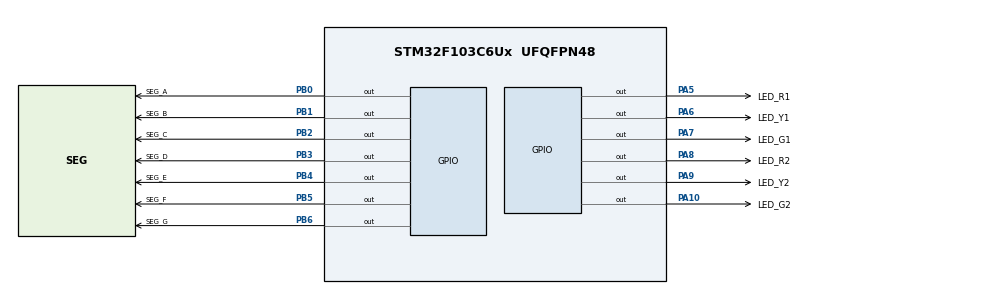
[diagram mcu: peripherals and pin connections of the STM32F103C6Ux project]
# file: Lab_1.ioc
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Mcu.Family=STM32F1
Mcu.Name=STM32F103C6Ux
Mcu.Package=UFQFPN48
NVIC.PriorityGroup=NVIC_PRIORITYGROUP_4
PA10.GPIO_Label=LED_G2
PA10.Signal=GPIO_Output
PA5.GPIO_Label=LED_R1
PA5.Signal=GPIO_Output
PA6.GPIO_Label=LED_Y1
PA6.Signal=GPIO_Output
PA7.GPIO_Label=LED_G1
PA7.Signal=GPIO_Output
PA8.GPIO_Label=LED_R2
PA8.Signal=GPIO_Output
PA9.GPIO_Label=LED_Y2
PA9.Signal=GPIO_Output
PB0.GPIO_Label=SEG_A
PB0.Signal=GPIO_Output
PB1.GPIO_Label=SEG_B
PB1.Signal=GPIO_Output
PB2.GPIO_Label=SEG_C
PB2.Signal=GPIO_Output
PB3.GPIO_Label=SEG_D
PB3.Signal=GPIO_Output
PB4.GPIO_Label=SEG_E
PB4.Signal=GPIO_Output
PB5.GPIO_Label=SEG_F
PB5.Signal=GPIO_Output
PB6.GPIO_Label=SEG_G
PB6.Signal=GPIO_Output
ProjectManager.HeapSize=0x200
ProjectManager.StackSize=0x400
ProjectManager.TargetToolchain=STM32CubeIDE
RCC.APB1Freq_Value=8000000
RCC.APB2Freq_Value=8000000
VP_SYS_VS_ND.Mode=No_Debug
board=custom

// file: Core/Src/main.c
/* USER CODE BEGIN Header */
/**
  ******************************************************************************
  * @file           : main.c
  * @brief          : Main program body
  ******************************************************************************
  * @attention
  *
  * <h2><center>&copy; Copyright (c) 2025 STMicroelectronics.
  * All rights reserved.</center></h2>
  *
  * This software component is licensed by ST under BSD 3-Clause license,
  * the "License"; You may not use this file except in compliance with the
  * License. You may obtain a copy of the License at:
  *                        opensource.org/licenses/BSD-3-Clause
  *
  ******************************************************************************
  */
/* USER CODE END Header */
#include "main.h"

/* USER CODE BEGIN PD */
#define G1_R2 1
#define Y1_R2 2
#define R1_G2 3
#define R1_Y2 4

#define COUNTER_GREEN 300
#define COUNTER_YELLOW 200
/* USER CODE END PD */

int traffic_state = G1_R2;
int traffic_counter = COUNTER_GREEN;

void SystemClock_Config(void);
static void MX_GPIO_Init(void);
/* USER CODE BEGIN PFP */
void display7SEG(int num);
/* USER CODE END PFP */

int main(void)
{

  /* MCU Configuration--------------------------------------------------------*/

  /* Reset of all peripherals, Initializes the Flash interface and the Systick. */
  HAL_Init();

  /* Configure the system clock */
  SystemClock_Config();

  /* Initialize all configured peripherals */
  MX_GPIO_Init();
  /* USER CODE BEGIN 2 */
  void display7SEG(int num) {
    switch(num) {
      case 0:
        HAL_GPIO_WritePin(GPIOB, GPIO_PIN_0, GPIO_PIN_RESET); // a
        HAL_GPIO_WritePin(GPIOB, GPIO_PIN_1, GPIO_PIN_RESET); // b
        HAL_GPIO_WritePin(GPIOB, GPIO_PIN_2, GPIO_PIN_RESET); // c
        HAL_GPIO_WritePin(GPIOB, GPIO_PIN_3, GPIO_PIN_RESET); // d
        HAL_GPIO_WritePin(GPIOB, GPIO_PIN_4, GPIO_PIN_RESET); // e
        HAL_GPIO_WritePin(GPIOB, GPIO_PIN_5, GPIO_PIN_RESET); // f
        HAL_GPIO_WritePin(GPIOB, GPIO_PIN_6, GPIO_PIN_SET);   // g
        break;
      case 1:
        HAL_GPIO_WritePin(GPIOB, GPIO_PIN_0, GPIO_PIN_SET);   // a
        HAL_GPIO_WritePin(GPIOB, GPIO_PIN_1, GPIO_PIN_RESET); // b
        HAL_GPIO_WritePin(GPIOB, GPIO_PIN_2, GPIO_PIN_RESET); // c
        HAL_GPIO_WritePin(GPIOB, GPIO_PIN_3, GPIO_PIN_SET);   // d
        HAL_GPIO_WritePin(GPIOB, GPIO_PIN_4, GPIO_PIN_SET);   // e
        HAL_GPIO_WritePin(GPIOB, GPIO_PIN_5, GPIO_PIN_SET);   // f
        HAL_GPIO_WritePin(GPIOB, GPIO_PIN_6, GPIO_PIN_SET);   // g
        break;
      case 2:
        HAL_GPIO_WritePin(GPIOB, GPIO_PIN_0, GPIO_PIN_RESET); // a
        HAL_GPIO_WritePin(GPIOB, GPIO_PIN_1, GPIO_PIN_RESET); // b
        HAL_GPIO_WritePin(GPIOB, GPIO_PIN_2, GPIO_PIN_SET);   // c
        HAL_GPIO_WritePin(GPIOB, GPIO_PIN_3, GPIO_PIN_RESET); // d
        HAL_GPIO_WritePin(GPIOB, GPIO_PIN_4, GPIO_PIN_RESET); // e
        HAL_GPIO_WritePin(GPIOB, GPIO_PIN_5, GPIO_PIN_SET);   // f
        HAL_GPIO_WritePin(GPIOB, GPIO_PIN_6, GPIO_PIN_RESET); // g
        break;
      case 3:
        HAL_GPIO_WritePin(GPIOB, GPIO_PIN_0, GPIO_PIN_RESET); // a
        HAL_GPIO_WritePin(GPIOB, GPIO_PIN_1, GPIO_PIN_RESET); // b
        HAL_GPIO_WritePin(GPIOB, GPIO_PIN_2, GPIO_PIN_RESET); // c
        HAL_GPIO_WritePin(GPIOB, GPIO_PIN_3, GPIO_PIN_RESET); // d
        HAL_GPIO_WritePin(GPIOB, GPIO_PIN_4, GPIO_PIN_SET);   // e
        HAL_GPIO_WritePin(GPIOB, GPIO_PIN_5, GPIO_PIN_SET);   // f
        HAL_GPIO_WritePin(GPIOB, GPIO_PIN_6, GPIO_PIN_RESET); // g
        break;
      case 4:
        HAL_GPIO_WritePin(GPIOB, GPIO_PIN_0, GPIO_PIN_SET);   // a
        HAL_GPIO_WritePin(GPIOB, GPIO_PIN_1, GPIO_PIN_RESET); // b
        HAL_GPIO_WritePin(GPIOB, GPIO_PIN_2, GPIO_PIN_RESET); // c
        HAL_GPIO_WritePin(GPIOB, GPIO_PIN_3, GPIO_PIN_SET);   // d
        HAL_GPIO_WritePin(GPIOB, GPIO_PIN_4, GPIO_PIN_SET);   // e
        HAL_GPIO_WritePin(GPIOB, GPIO_PIN_5, GPIO_PIN_RESET); // f
        HAL_GPIO_WritePin(GPIOB, GPIO_PIN_6, GPIO_PIN_RESET); // g
        break;
      case 5:
        HAL_GPIO_WritePin(GPIOB, GPIO_PIN_0, GPIO_PIN_RESET); // a
        HAL_GPIO_WritePin(GPIOB, GPIO_PIN_1, GPIO_PIN_SET);   // b
        HAL_GPIO_WritePin(GPIOB, GPIO_PIN_2, GPIO_PIN_RESET); // c
        HAL_GPIO_WritePin(GPIOB, GPIO_PIN_3, GPIO_PIN_RESET); // d
        HAL_GPIO_WritePin(GPIOB, GPIO_PIN_4, GPIO_PIN_SET);   // e
        HAL_GPIO_WritePin(GPIOB, GPIO_PIN_5, GPIO_PIN_RESET); // f
        HAL_GPIO_WritePin(GPIOB, GPIO_PIN_6, GPIO_PIN_RESET); // g
        break;
      case 6:
        HAL_GPIO_WritePin(GPIOB, GPIO_PIN_0, GPIO_PIN_RESET); // a
        HAL_GPIO_WritePin(GPIOB, GPIO_PIN_1, GPIO_PIN_SET);   // b
        HAL_GPIO_WritePin(GPIOB, GPIO_PIN_2, GPIO_PIN_RESET); // c
        HAL_GPIO_WritePin(GPIOB, GPIO_PIN_3, GPIO_PIN_RESET); // d
        HAL_GPIO_WritePin(GPIOB, GPIO_PIN_4, GPIO_PIN_RESET); // e
        HAL_GPIO_WritePin(GPIOB, GPIO_PIN_5, GPIO_PIN_RESET); // f
        HAL_GPIO_WritePin(GPIOB, GPIO_PIN_6, GPIO_PIN_RESET); // g
        break;
      case 7:
        HAL_GPIO_WritePin(GPIOB, GPIO_PIN_0, GPIO_PIN_RESET); // a
        HAL_GPIO_WritePin(GPIOB, GPIO_PIN_1, GPIO_PIN_RESET); // b
        HAL_GPIO_WritePin(GPIOB, GPIO_PIN_2, GPIO_PIN_RESET); // c
        HAL_GPIO_WritePin(GPIOB, GPIO_PIN_3, GPIO_PIN_SET);   // d
        HAL_GPIO_WritePin(GPIOB, GPIO_PIN_4, GPIO_PIN_SET);   // e
        HAL_GPIO_WritePin(GPIOB, GPIO_PIN_5, GPIO_PIN_SET);   // f
        HAL_GPIO_WritePin(GPIOB, GPIO_PIN_6, GPIO_PIN_SET);   // g
        break;
      case 8:
        HAL_GPIO_WritePin(GPIOB, GPIO_PIN_0, GPIO_PIN_RESET); // a
        HAL_GPIO_WritePin(GPIOB, GPIO_PIN_1, GPIO_PIN_RESET); // b
        HAL_GPIO_WritePin(GPIOB, GPIO_PIN_2, GPIO_PIN_RESET); // c
        HAL_GPIO_WritePin(GPIOB, GPIO_PIN_3, GPIO_PIN_RESET); // d
        HAL_GPIO_WritePin(GPIOB, GPIO_PIN_4, GPIO_PIN_RESET); // e
        HAL_GPIO_WritePin(GPIOB, GPIO_PIN_5, GPIO_PIN_RESET); // f
        HAL_GPIO_WritePin(GPIOB, GPIO_PIN_6, GPIO_PIN_RESET); // g
        break;
      case 9:
        HAL_GPIO_WritePin(GPIOB, GPIO_PIN_0, GPIO_PIN_RESET); // a
        HAL_GPIO_WritePin(GPIOB, GPIO_PIN_1, GPIO_PIN_RESET); // b
        HAL_GPIO_WritePin(GPIOB, GPIO_PIN_2, GPIO_PIN_RESET); // c
        HAL_GPIO_WritePin(GPIOB, GPIO_PIN_3, GPIO_PIN_RESET); // d
        HAL_GPIO_WritePin(GPIOB, GPIO_PIN_4, GPIO_PIN_SET);   // e
        HAL_GPIO_WritePin(GPIOB, GPIO_PIN_5, GPIO_PIN_RESET); // f
        HAL_GPIO_WritePin(GPIOB, GPIO_PIN_6, GPIO_PIN_RESET); // g
        break;
      default:
        HAL_GPIO_WritePin(GPIOB, GPIO_PIN_0, GPIO_PIN_SET);
        HAL_GPIO_WritePin(GPIOB, GPIO_PIN_1, GPIO_PIN_SET);
        HAL_GPIO_WritePin(GPIOB, GPIO_PIN_2, GPIO_PIN_SET);
        HAL_GPIO_WritePin(GPIOB, GPIO_PIN_3, GPIO_PIN_SET);
        HAL_GPIO_WritePin(GPIOB, GPIO_PIN_4, GPIO_PIN_SET);
        HAL_GPIO_WritePin(GPIOB, GPIO_PIN_5, GPIO_PIN_SET);
        HAL_GPIO_WritePin(GPIOB, GPIO_PIN_6, GPIO_PIN_SET);
        break;
    }
  }

  /* USER CODE END 2 */

  /* Infinite loop */
  /* USER CODE BEGIN WHILE */
  while (1)
  {
	  if (traffic_counter <= 0) {
	          switch(traffic_state) {
	              case G1_R2:
	                  traffic_state = Y1_R2;
	                  traffic_counter = COUNTER_YELLOW;
	                  break;
	              case Y1_R2:
	                  traffic_state = R1_G2;
	                  traffic_counter = COUNTER_GREEN;
	                  break;
	              case R1_G2:
	                  traffic_state = R1_Y2;
	                  traffic_counter = COUNTER_YELLOW;
	                  break;
	              case R1_Y2:
	                  traffic_state = G1_R2;
	                  traffic_counter = COUNTER_GREEN;
	                  break;
	          }
	      }

	      // LOGIC DEM NGUOC CHO LED 7 DOAN CUA TRUC 1
	      int countdown_display = 0;
	      // phep chia cho 100 de chuyen tu ticks (10ms) sang giay
	      switch(traffic_state) {
	          case G1_R2: // Truc 1 den Xanh
	              countdown_display = traffic_counter / 100;
	              break;
	          case Y1_R2: // Truc 1 den Vang
	              countdown_display = traffic_counter / 100;
	              break;
	          case R1_G2: // Truc 1 den Do (khi truc 2 den Xanh)
	              // Thoi gian Do con lai = thoi gian Xanh cua truc 2 + thoi gian Vang cua truc 2
	              countdown_display = (traffic_counter + COUNTER_YELLOW) / 100;
	              break;
	          case R1_Y2: // Truc 1 den Do (khi truc 2 den Vang)
	              countdown_display = traffic_counter / 100;
	              break;
	      }
	      display7SEG(countdown_display);

	      // LOGIC BAT/TAT DEN GIAO THONG
	      switch(traffic_state) {
	          case G1_R2:
	              // Truc 1: Xanh BAT
	              HAL_GPIO_WritePin(LED_G1_GPIO_Port, LED_G1_Pin, GPIO_PIN_RESET);
	              HAL_GPIO_WritePin(LED_Y1_GPIO_Port, LED_Y1_Pin, GPIO_PIN_SET);
	              HAL_GPIO_WritePin(LED_R1_GPIO_Port, LED_R1_Pin, GPIO_PIN_SET);
	              // Truc 2: Do BAT
	              HAL_GPIO_WritePin(LED_R2_GPIO_Port, LED_R2_Pin, GPIO_PIN_RESET);
	              HAL_GPIO_WritePin(LED_G2_GPIO_Port, LED_G2_Pin, GPIO_PIN_SET);
	              HAL_GPIO_WritePin(LED_Y2_GPIO_Port, LED_Y2_Pin, GPIO_PIN_SET);
	              break;
	          case Y1_R2:
	              // Truc 1: Vang BAT
	              HAL_GPIO_WritePin(LED_Y1_GPIO_Port, LED_Y1_Pin, GPIO_PIN_RESET);
	              HAL_GPIO_WritePin(LED_G1_GPIO_Port, LED_G1_Pin, GPIO_PIN_SET);
	              HAL_GPIO_WritePin(LED_R1_GPIO_Port, LED_R1_Pin, GPIO_PIN_SET);
	              // Truc 2: Do BAT
	              HAL_GPIO_WritePin(LED_R2_GPIO_Port, LED_R2_Pin, GPIO_PIN_RESET);
	              HAL_GPIO_WritePin(LED_G2_GPIO_Port, LED_G2_Pin, GPIO_PIN_SET);
	              HAL_GPIO_WritePin(LED_Y2_GPIO_Port, LED_Y2_Pin, GPIO_PIN_SET);
	              break;
	          case R1_G2:
	              // Truc 1: Do BAT
	              HAL_GPIO_WritePin(LED_R1_GPIO_Port, LED_R1_Pin, GPIO_PIN_RESET);
	              HAL_GPIO_WritePin(LED_G1_GPIO_Port, LED_G1_Pin, GPIO_PIN_SET);
	              HAL_GPIO_WritePin(LED_Y1_GPIO_Port, LED_Y1_Pin, GPIO_PIN_SET);
	              // Truc 2: Xanh BAT
	              HAL_GPIO_WritePin(LED_G2_GPIO_Port, LED_G2_Pin, GPIO_PIN_RESET);
	              HAL_GPIO_WritePin(LED_R2_GPIO_Port, LED_R2_Pin, GPIO_PIN_SET);
	              HAL_GPIO_WritePin(LED_Y2_GPIO_Port, LED_Y2_Pin, GPIO_PIN_SET);
	              break;
	          case R1_Y2:
	              // Truc 1: Do BAT
	              HAL_GPIO_WritePin(LED_R1_GPIO_Port, LED_R1_Pin, GPIO_PIN_RESET);
	              HAL_GPIO_WritePin(LED_G1_GPIO_Port, LED_G1_Pin, GPIO_PIN_SET);
	              HAL_GPIO_WritePin(LED_Y1_GPIO_Port, LED_Y1_Pin, GPIO_PIN_SET);
	              // Truc 2: Vang BAT
	              HAL_GPIO_WritePin(LED_Y2_GPIO_Port, LED_Y2_Pin, GPIO_PIN_RESET);
	              HAL_GPIO_WritePin(LED_G2_GPIO_Port, LED_G2_Pin, GPIO_PIN_SET);
	              HAL_GPIO_WritePin(LED_R2_GPIO_Port, LED_R2_Pin, GPIO_PIN_SET);
	              break;
	      }

	      // CAP NHAT BIEN DEM VA DELAY
	      traffic_counter--;
	      HAL_Delay(10);
    /* USER CODE END WHILE */

  }
}

void SystemClock_Config(void)
{
  RCC_OscInitTypeDef RCC_OscInitStruct = {0};
  RCC_ClkInitTypeDef RCC_ClkInitStruct = {0};

  /** Initializes the RCC Oscillators according to the specified parameters
  * in the RCC_OscInitTypeDef structure.
  */
  RCC_OscInitStruct.OscillatorType = RCC_OSCILLATORTYPE_HSI;
  RCC_OscInitStruct.HSIState = RCC_HSI_ON;
  RCC_OscInitStruct.HSICalibrationValue = RCC_HSICALIBRATION_DEFAULT;
  RCC_OscInitStruct.PLL.PLLState = RCC_PLL_NONE;
  if (HAL_RCC_OscConfig(&RCC_OscInitStruct) != HAL_OK)
  {
    Error_Handler();
  }
  /** Initializes the CPU, AHB and APB buses clocks
  */
  RCC_ClkInitStruct.ClockType = RCC_CLOCKTYPE_HCLK|RCC_CLOCKTYPE_SYSCLK
                              |RCC_CLOCKTYPE_PCLK1|RCC_CLOCKTYPE_PCLK2;
  RCC_ClkInitStruct.SYSCLKSource = RCC_SYSCLKSOURCE_HSI;
  RCC_ClkInitStruct.AHBCLKDivider = RCC_SYSCLK_DIV1;
  RCC_ClkInitStruct.APB1CLKDivider = RCC_HCLK_DIV1;
  RCC_ClkInitStruct.APB2CLKDivider = RCC_HCLK_DIV1;

  if (HAL_RCC_ClockConfig(&RCC_ClkInitStruct, FLASH_LATENCY_0) != HAL_OK)
  {
    Error_Handler();
  }
}

static void MX_GPIO_Init(void)
{
  GPIO_InitTypeDef GPIO_InitStruct = {0};

  /* GPIO Ports Clock Enable */
  __HAL_RCC_GPIOA_CLK_ENABLE();
  __HAL_RCC_GPIOB_CLK_ENABLE();

  /*Configure GPIO pin Output Level */
  HAL_GPIO_WritePin(GPIOA, LED_R1_Pin|LED_Y1_Pin|LED_G1_Pin|LED_R2_Pin
                          |LED_Y2_Pin|LED_G2_Pin, GPIO_PIN_RESET);

  /*Configure GPIO pin Output Level */
  HAL_GPIO_WritePin(GPIOB, SEG_A_Pin|SEG_B_Pin|SEG_C_Pin|SEG_D_Pin
                          |SEG_E_Pin|SEG_F_Pin|SEG_G_Pin, GPIO_PIN_RESET);

  /*Configure GPIO pins : LED_R1_Pin LED_Y1_Pin LED_G1_Pin LED_R2_Pin
                           LED_Y2_Pin LED_G2_Pin */
  GPIO_InitStruct.Pin = LED_R1_Pin|LED_Y1_Pin|LED_G1_Pin|LED_R2_Pin
                          |LED_Y2_Pin|LED_G2_Pin;
  GPIO_InitStruct.Mode = GPIO_MODE_OUTPUT_PP;
  GPIO_InitStruct.Pull = GPIO_NOPULL;
  GPIO_InitStruct.Speed = GPIO_SPEED_FREQ_LOW;
  HAL_GPIO_Init(GPIOA, &GPIO_InitStruct);

  /*Configure GPIO pins : SEG_A_Pin SEG_B_Pin SEG_C_Pin SEG_D_Pin
                           SEG_E_Pin SEG_F_Pin SEG_G_Pin */
  GPIO_InitStruct.Pin = SEG_A_Pin|SEG_B_Pin|SEG_C_Pin|SEG_D_Pin
                          |SEG_E_Pin|SEG_F_Pin|SEG_G_Pin;
  GPIO_InitStruct.Mode = GPIO_MODE_OUTPUT_PP;
  GPIO_InitStruct.Pull = GPIO_NOPULL;
  GPIO_InitStruct.Speed = GPIO_SPEED_FREQ_LOW;
  HAL_GPIO_Init(GPIOB, &GPIO_InitStruct);

}

void Error_Handler(void)
{
  __disable_irq();
  while (1)
  {
  }
}

/************************ (C) COPYRIGHT STMicroelectronics *****END OF FILE****/
